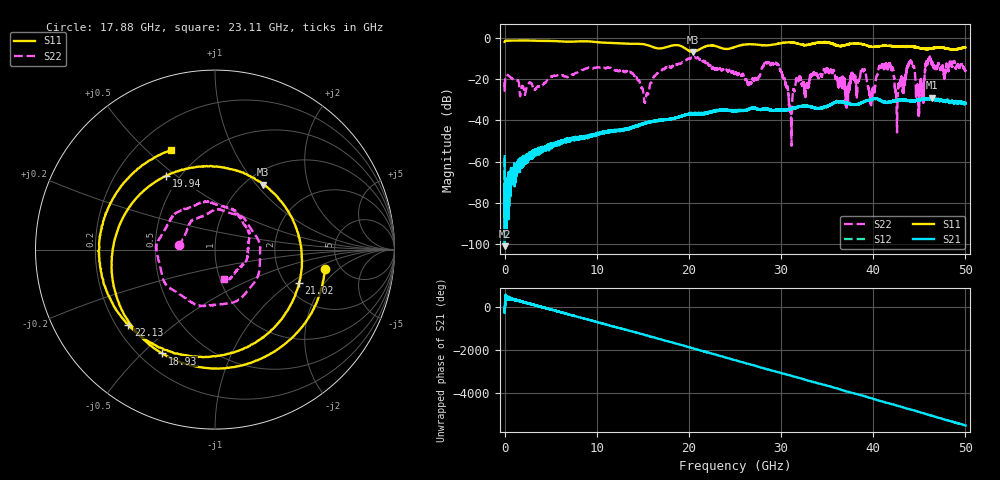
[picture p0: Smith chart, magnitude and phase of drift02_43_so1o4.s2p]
!Created with skrf (http://scikit-rf.org).
# Hz S RI R 50.0
!freq ReS11 ImS11 ReS21 ImS21 ReS12 ImS12 ReS22 ImS22
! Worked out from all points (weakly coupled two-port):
!   10001 points, 300 kHz to 50 GHz, reference 50 ohm
!   highest |S21| = -29.08 dB at 46.4 GHz (marker M1); lowest = -100.9 dB at 20.3 MHz (marker M2)
!   lowest |S11| = -6.9 dB at 20.44 GHz (marker M3), VSWR 2.64, Z = 59.8 + j54.3 ohm
!   |S11| at or under -10 dB: nowhere
!   |S22| runs from -52.3 to -9.1 dB; largest |S21 - S12| = 0.0032
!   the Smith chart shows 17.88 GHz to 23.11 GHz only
!   S11 on the Smith chart (normalised r, x): 17.88 GHz: 3.81, -1.32; 18.93 GHz: 0.29, -0.58; 19.94 GHz: 0.42, +0.46; 21.02 GHz: 2.34, -1.18; 22.13 GHz: 0.25, -0.35; 23.11 GHz: 0.34, +0.60
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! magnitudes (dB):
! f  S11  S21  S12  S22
! 300 kHz  -2.1  -57.4  -58.3  -21.5
! 20.3 MHz  -1.9  -100.9  -72.5  -23.9
! 8.335 GHz  -1.7  -48.6  -48.3  -15.7
! 15.33 GHz  -3.4  -41.4  -41.1  -29.1
! 16.67 GHz  -5.2  -40.0  -40.1  -17.0
! 17.88 GHz  -4.1  -39.5  -39.4  -13.9
! 18.93 GHz  -3.8  -38.3  -38.4  -12.5
! 19.94 GHz  -6.1  -36.9  -37.1  -10.1
! 20.44 GHz  -6.9  -36.8  -37.1  -10.0
! 21.02 GHz  -5.9  -37.0  -36.6  -9.9
! 22.13 GHz  -3.9  -36.0  -36.0  -13.0
! 23.11 GHz  -4.4  -35.3  -35.0  -15.4
! 25 GHz  -4.5  -35.4  -35.2  -17.5
! 29.51 GHz  -3.1  -34.9  -35.0  -12.5
! 31.03 GHz  -2.2  -34.3  -34.7  -33.8
! 33.34 GHz  -3.0  -33.4  -33.6  -17.9
! 38.92 GHz  -3.2  -31.1  -31.1  -16.2
! 39.78 GHz  -4.4  -30.0  -29.9  -31.8
! 41.67 GHz  -4.0  -30.9  -31.2  -13.2
! 42.58 GHz  -4.3  -30.3  -30.3  -45.2
! 46.4 GHz  -5.1  -29.1  -29.5  -11.7
! 50 GHz  -4.7  -31.7  -31.8  -16.0
